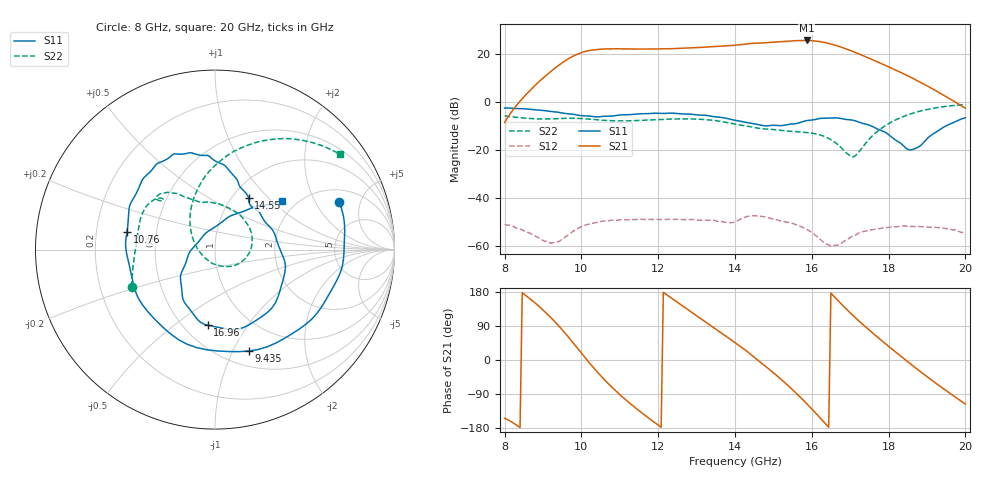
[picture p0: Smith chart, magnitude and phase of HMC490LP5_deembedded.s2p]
!HMC490LP5
!De-embedded to amplifier pins, Vdd=5.0V, Idd=200mA (Vgg adjusted)
# MHZ S MA R 50
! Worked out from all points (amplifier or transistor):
!   210 points, 8 GHz to 20 GHz, reference 50 ohm
!   highest |S21| = 25.5 dB at 15.87 GHz (marker M1)
!   |S21| within 3 dB of that: 13 GHz to 16.81 GHz (3.808 GHz wide, 25.5 % of centre)
!   unconditionally stable (mu >= 1): start of sweep to end of sweep
!   at 10.01 GHz: K = 11.24, MAG = 22.7 dB, |S12| = -51.9 dB
!   at 14.03 GHz: K = 7.69, MAG = 24.8 dB, |S12| = -49.8 dB
!   at 20 GHz: K = 65.91, MAG = 4.7 dB, |S12| = -54.5 dB
!   S11 on the Smith chart (normalised r, x): 8 GHz: 2.72, +3.20; 9.435 GHz: 0.66, -1.16; 10.76 GHz: 0.34, +0.09; 14.55 GHz: 1.19, +0.77; 16.96 GHz: 0.65, -0.67; 20 GHz: 1.70, +1.17
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8000  0.7404 21.0  0.3691 -153.8  0.00281 -172.1  0.5091 -156.0
8976.077  0.664 -35.6  2.994 134.2  0.001322 164.6  0.4381 173.7
9435.407  0.596 -71.4  5.956 87.1  0.001253 -172.3  0.4463 159.8
10009.57  0.513 -131.0  10.59 17.2  0.002536 -176.1  0.4455 143.6
10354.07  0.4865 -163.1  12.12 -24.8  0.003028 164.9  0.4255 137.6
10755.98  0.5002 168.8  12.65 -67.9  0.003398 144.4  0.4028 135.8
11272.73  0.5391 144.3  12.59 -115.1  0.003503 120.3  0.4011 137.3
12019.14  0.5742 122.0  12.6 -173.0  0.003513 88.4  0.4271 139.3
12535.89  0.5643 109.6  12.89 149.8  0.003562 65.3  0.4383 137.8
13167.46  0.5266 94.7  13.64 105.3  0.003405 37.9  0.4275 132.8
14028.71  0.4076 72.4  15.1 43.8  0.003233 11.1  0.3391 119.9
14545.45  0.3429 57.0  16.55 3.4  0.004194 -24.5  0.2865 110.0
15177.03  0.3178 32.1  17.9 -49.0  0.00331 -70.1  0.2547 84.6
15521.53  0.3456 11.5  18.63 -80.5  0.002901 -96.0  0.24 62.4
15866.03  0.4044 -13.7  18.9 -114.9  0.002205 -127.1  0.2284 35.2
16038.28  0.4195 -27.5  18.59 -133.3  0.00181 -149.2  0.2193 20.1
16440.19  0.4561 -59.4  16.42 -177.4  0.001044 141.2  0.1721 -18.8
16956.94  0.423 -95.6  12.07 128.7  0.001409 42.2  0.07965 -99.0
17473.68  0.3307 -122.4  8.175 80.9  0.002107 -4.5  0.1595 145.4
18047.85  0.1924 -151.8  5.122 32.1  0.002463 -31.7  0.3681 103.5
18851.67  0.1261 89.9  2.481 -32.6  0.002488 -63.1  0.647 68.1
20000  0.463 35.8  0.7352 -116.2  0.001877 -98.5  0.8764 37.2
